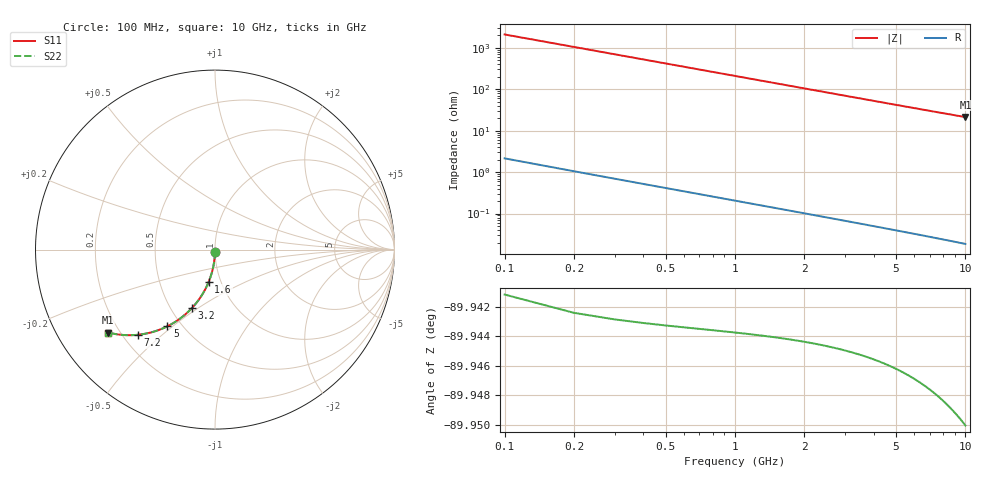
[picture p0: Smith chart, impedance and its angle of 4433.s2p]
# Hz S RI R 50.00
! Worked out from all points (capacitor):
!   100 points, 100 MHz to 10 GHz, reference 50 ohm
!   read as one part in shunt: C = 761 fF near 100 MHz
!   lowest |Z| = 21.3 ohm at 10 GHz (marker M1)
!   S11 on the Smith chart (normalised r, x): 100 MHz: 1.00, -0.02; 1.6 GHz: 0.87, -0.33; 3.2 GHz: 0.64, -0.47; 5 GHz: 0.42, -0.48; 7.2 GHz: 0.26, -0.42; 10 GHz: 0.16, -0.33
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1e8  -5.72e-05 -0.0117  0.9997 -0.0122  0.9997 -0.0122  -5.72e-05 -0.0117
2e8  -0.000497 -0.0234  0.9993 -0.0245  0.9993 -0.0245  -0.000497 -0.0234
3e8  -0.00122 -0.035  0.9986 -0.0367  0.9986 -0.0367  -0.00122 -0.035
4e8  -0.00223 -0.0466  0.9976 -0.0488  0.9976 -0.0488  -0.00223 -0.0466
5e8  -0.00352 -0.0582  0.9963 -0.061  0.9963 -0.061  -0.00352 -0.0582
6e8  -0.00509 -0.0698  0.9947 -0.073  0.9947 -0.073  -0.00509 -0.0698
7e8  -0.00694 -0.0812  0.9929 -0.0851  0.9929 -0.0851  -0.00694 -0.0812
9e8  -0.0115 -0.1039  0.9883 -0.1089  0.9883 -0.1089  -0.0115 -0.1039
1.2e9  -0.0202 -0.1374  0.9796 -0.1439  0.9796 -0.1439  -0.0202 -0.1374
1.6e9  -0.0354 -0.1803  0.9643 -0.1891  0.9643 -0.1891  -0.0354 -0.1803
1.8e9  -0.0444 -0.2009  0.9553 -0.2108  0.9553 -0.2108  -0.0444 -0.2009
2.4e9  -0.0764 -0.2588  0.9233 -0.272  0.9233 -0.272  -0.0764 -0.2588
3.2e9  -0.1284 -0.3254  0.8713 -0.343  0.8713 -0.343  -0.1284 -0.3254
3.4e9  -0.1426 -0.34  0.857 -0.3587  0.857 -0.3587  -0.1426 -0.34
4.2e9  -0.2027 -0.3901  0.7968 -0.4133  0.7968 -0.4133  -0.2027 -0.3901
5e9  -0.2653 -0.4273  0.7341 -0.455  0.7341 -0.455  -0.2653 -0.4273
5.1e9  -0.2731 -0.4311  0.7263 -0.4593  0.7263 -0.4593  -0.2731 -0.4311
5.9e9  -0.3351 -0.4553  0.6641 -0.488  0.6641 -0.488  -0.3351 -0.4553
6.7e9  -0.3946 -0.4697  0.6045 -0.507  0.6045 -0.507  -0.3946 -0.4697
7.2e9  -0.4299 -0.4745  0.5691 -0.5147  0.5691 -0.5147  -0.4299 -0.4745
8.4e9  -0.5076 -0.4759  0.491 -0.5229  0.491 -0.5229  -0.5076 -0.4759
1e10  -0.5953 -0.4619  0.4028 -0.5183  0.4028 -0.5183  -0.5953 -0.4619
